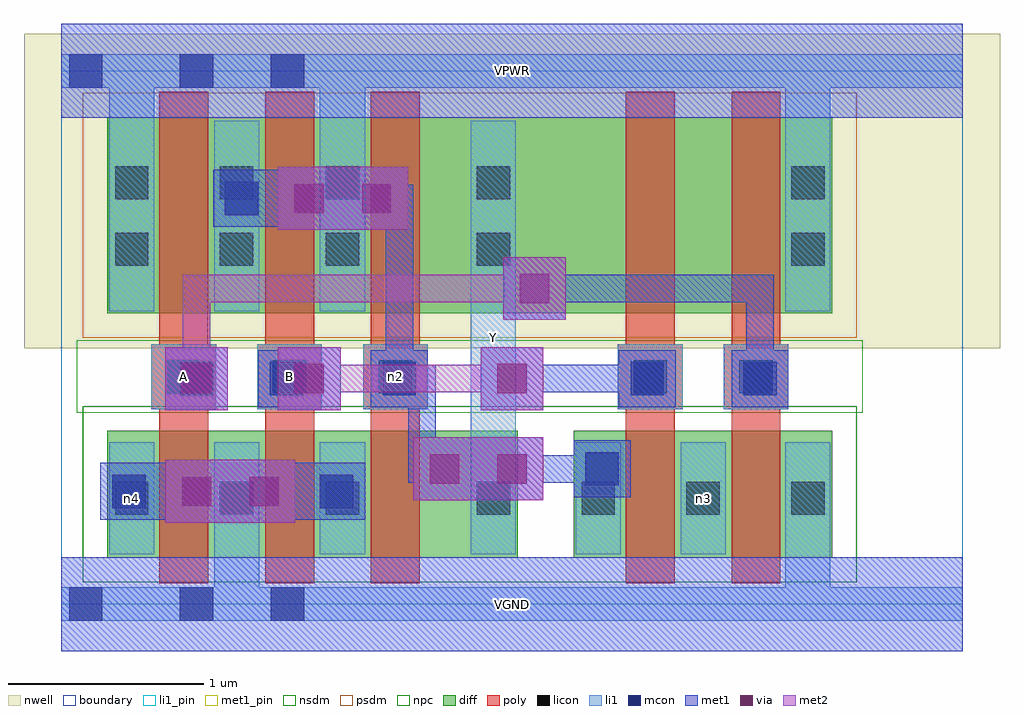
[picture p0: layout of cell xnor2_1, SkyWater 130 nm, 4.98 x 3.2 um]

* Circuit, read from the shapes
.subckt xnor2_1 A B VGND VPWR Y n2 n3 n4
XM1 VGND A n4 VSUBS sky130_fd_pr__nfet_01v8 w=0.65 l=0.25
XM2 n4 B VGND VSUBS sky130_fd_pr__nfet_01v8 w=0.65 l=0.25
XM3 Y n2 n4 VSUBS sky130_fd_pr__nfet_01v8 w=0.65 l=0.25
XM4 n3 B n2 VSUBS sky130_fd_pr__nfet_01v8 w=0.65 l=0.25
XM5 VGND A n3 VSUBS sky130_fd_pr__nfet_01v8 w=0.65 l=0.25
XM6 n2 A VPWR n1 sky130_fd_pr__pfet_01v8 w=1 l=0.25
XM7 VPWR B n2 n1 sky130_fd_pr__pfet_01v8 w=1 l=0.25
XM8 Y n2 VPWR n1 sky130_fd_pr__pfet_01v8 w=1 l=0.25
XM9 n5 B Y n1 sky130_fd_pr__pfet_01v8 w=1 l=0.25
XM10 VPWR A n5 n1 sky130_fd_pr__pfet_01v8 w=1 l=0.25
.ends

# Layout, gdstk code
import gdstk
lib = gdstk.Library(unit=1e-6, precision=1e-09)
def R(c, l, rs):  # rectangles x0, y0, x1, y1
    for r in rs: c.add(gdstk.rectangle(r[:2], r[2:], *l))
def A(c, l, x, y, w, h, nx, ny, dx, dy):  # array of equal rectangles
    R(c, l, [(x+i*dx, y+j*dy, x+i*dx+w, y+j*dy+h) for i in range(nx) for j in range(ny)])
nwell = (64, 20)
diff = (65, 20)
poly = (66, 20)
licon = (66, 44)
li1_pin = (67, 16)
li1 = (67, 20)
mcon = (67, 44)
met1_pin = (68, 16)
met1 = (68, 20)
via = (68, 44)
met2 = (69, 20)
nsdm = (93, 44)
psdm = (94, 20)
npc = (95, 20)
boundary = (235, 4)

xnor2_1 = lib.new_cell('xnor2_1')
R(xnor2_1, nwell, [(-0.19,1.305,4.79,2.91), (0,1.305,4.6,2.91)])
R(xnor2_1, diff, [(0.235,0.235,2.33,0.885), (2.615,0.235,3.935,0.885), (0.235,1.485,3.935,2.485)])
A(xnor2_1, poly, 0.5, 0.105, 0.25, 2.51, 3, 1, 0.54, 0)
A(xnor2_1, poly, 0.46, 0.995, 0.33, 0.33, 3, 1, 0.54, 0)
R(xnor2_1, poly, [(2.88,0.105,3.13,2.615), (3.42,0.105,3.67,2.615), (2.84,0.995,3.17,1.325), (3.38,0.995,3.71,1.325)])
A(xnor2_1, licon, 2.12, 0.455, 0.17, 0.17, 4, 1, 0.535, 0)
A(xnor2_1, licon, 0.54, 1.075, 0.17, 0.17, 3, 1, 0.54, 0)
R(xnor2_1, licon, [(0.275,0.455,0.445,0.625), (0.81,0.455,0.98,0.625), (1.35,0.455,1.52,0.625), (2.92,1.075,3.09,1.245), (3.46,1.075,3.63,1.245), (0.275,1.725,0.445,1.895), (0.81,1.725,0.98,1.895), (1.35,1.725,1.52,1.895), (2.12,1.725,2.29,1.895), (3.725,1.725,3.895,1.895), (0.275,2.065,0.445,2.235), (0.81,2.065,0.98,2.235), (1.35,2.065,1.52,2.235), (2.12,2.065,2.29,2.235), (3.725,2.065,3.895,2.235)])
R(xnor2_1, li1_pin, [(2.09,0.255,2.32,2.465), (0.46,0.995,0.79,1.325), (1,0.995,1.33,1.325)])
A(xnor2_1, li1, 0.46, 0.995, 0.33, 0.33, 3, 1, 0.54, 0)
R(xnor2_1, li1, [(0,-0.085,4.6,0.085), (0.78,-0.085,1.01,0.825), (3.695,-0.085,3.925,0.825), (0.245,0.255,0.475,0.825), (1.32,0.255,1.55,0.825), (2.09,0.255,2.32,2.465), (2.625,0.255,2.855,0.825), (3.16,0.255,3.39,0.825), (2.84,0.995,3.17,1.325), (3.38,0.995,3.71,1.325), (0.245,1.495,0.475,2.805), (0.78,1.495,1.01,2.465), (1.32,1.495,1.55,2.805), (3.695,1.495,3.925,2.805), (0,2.635,4.6,2.805)])
R(xnor2_1, mcon, [(0.04,-0.085,0.21,0.085), (0.605,-0.085,0.775,0.085), (1.07,-0.085,1.24,0.085), (0.26,0.49,0.43,0.66), (1.32,0.49,1.49,0.66), (2.675,0.605,2.845,0.775), (0.605,1.065,0.775,1.235), (1.065,1.065,1.235,1.235), (1.64,1.065,1.81,1.235), (2.905,1.065,3.075,1.235), (3.48,1.065,3.65,1.235), (0.835,1.985,1.005,2.155), (0.04,2.635,0.21,2.805), (0.605,2.635,0.775,2.805), (1.07,2.635,1.24,2.805)])
R(xnor2_1, met1_pin, [(0,-0.24,4.6,0.24), (0,2.48,4.6,2.96)])
R(xnor2_1, met1, [(0,-0.24,4.6,0.24), (0.53,0.415,0.85,0.735), (0.85,0.415,0.875,0.735), (0.875,0.415,1.195,0.735), (0.2,0.43,0.49,0.72), (0.49,0.43,0.53,0.72), (1.195,0.43,1.26,0.72), (1.26,0.43,1.55,0.72), (0.275,0.505,0.76,0.645), (0.76,0.505,0.875,0.645), (0.85,0.505,0.965,0.645), (0.965,0.505,1.335,0.645), (1.195,0.505,1.475,0.645), (1.795,0.53,2.115,0.85), (2.115,0.53,2.14,0.85), (2.14,0.53,2.46,0.85), (2.615,0.545,2.905,0.835), (1.77,0.62,2.025,0.76), (1.77,0.62,1.91,1.22), (2.025,0.62,2.14,0.76), (2.115,0.62,2.23,0.76), (2.23,0.62,2.83,0.76), (0.53,0.99,0.85,1.31), (1.105,0.99,1.425,1.31), (2.14,0.99,2.46,1.31), (0.545,1.005,0.835,1.295), (1.005,1.005,1.295,1.295), (1.58,1.005,1.87,1.295), (2.845,1.005,3.135,1.295), (3.42,1.005,3.71,1.295), (1.08,1.08,1.335,1.22), (1.655,1.08,1.91,1.22), (1.655,1.08,1.795,2.14), (2.23,1.08,3.06,1.22), (3.495,1.08,3.635,1.68), (2.255,1.45,2.575,1.77), (2.345,1.54,3.635,1.68), (1.105,1.91,1.425,2.23), (1.425,1.91,1.45,2.23), (1.45,1.91,1.77,2.23), (0.775,1.925,1.065,2.215), (1.065,1.925,1.105,2.215), (0.85,2,1.335,2.14), (1.335,2,1.45,2.14), (1.425,2,1.54,2.14), (1.54,2,1.795,2.14), (0,2.48,4.6,2.96)])
R(xnor2_1, via, [(0.615,0.5,0.765,0.65), (0.96,0.5,1.11,0.65), (1.88,0.615,2.03,0.765), (2.225,0.615,2.375,0.765), (0.615,1.075,0.765,1.225), (1.19,1.075,1.34,1.225), (2.225,1.075,2.375,1.225), (2.34,1.535,2.49,1.685), (1.19,1.995,1.34,2.145), (1.535,1.995,1.685,2.145)])
R(xnor2_1, met2, [(0.53,0.415,0.85,0.735), (0.85,0.415,0.875,0.735), (0.875,0.415,1.195,0.735), (0.62,0.505,1.105,0.645), (1.795,0.53,2.115,0.85), (2.115,0.53,2.14,0.85), (2.14,0.53,2.46,0.85), (1.885,0.62,2.37,0.76), (0.53,0.99,0.85,1.31), (1.105,0.99,1.425,1.31), (2.14,0.99,2.46,1.31), (0.62,1.08,0.76,1.68), (1.195,1.08,2.37,1.22), (2.255,1.45,2.575,1.77), (0.62,1.54,2.485,1.68), (1.105,1.91,1.425,2.23), (1.425,1.91,1.45,2.23), (1.45,1.91,1.77,2.23), (1.195,2,1.68,2.14)])
R(xnor2_1, nsdm, [(0.11,0.11,4.06,1.01)])
R(xnor2_1, psdm, [(0.11,1.36,4.06,2.61)])
R(xnor2_1, npc, [(0.08,0.975,4.09,1.345)])
R(xnor2_1, boundary, [(0,0,4.6,2.72)])
xnor2_1.add(gdstk.Label('A', (0.625,1.16), layer=67, texttype=5))
xnor2_1.add(gdstk.Label('B', (1.165,1.16), layer=67, texttype=5))
xnor2_1.add(gdstk.Label('Y', (2.205,1.36), layer=67, texttype=5))
xnor2_1.add(gdstk.Label('n2', (1.705,1.16), layer=67, texttype=5))
xnor2_1.add(gdstk.Label('n4', (0.36,0.54), layer=67, texttype=5))
xnor2_1.add(gdstk.Label('n3', (3.275,0.54), layer=67, texttype=5))
xnor2_1.add(gdstk.Label('VPWR', (2.3,2.72), layer=68, texttype=5))
xnor2_1.add(gdstk.Label('VGND', (2.3,0), layer=68, texttype=5))
xnor2_1.add(gdstk.Label('A', (0.625,1.16), layer=67, texttype=16))
xnor2_1.add(gdstk.Label('B', (1.165,1.16), layer=67, texttype=16))
xnor2_1.add(gdstk.Label('Y', (2.205,1.36), layer=67, texttype=16))
xnor2_1.add(gdstk.Label('VPWR', (2.3,2.72), layer=68, texttype=16))
xnor2_1.add(gdstk.Label('VGND', (2.3,0), layer=68, texttype=16))

lib.write_gds('xnor2_1.gds')
